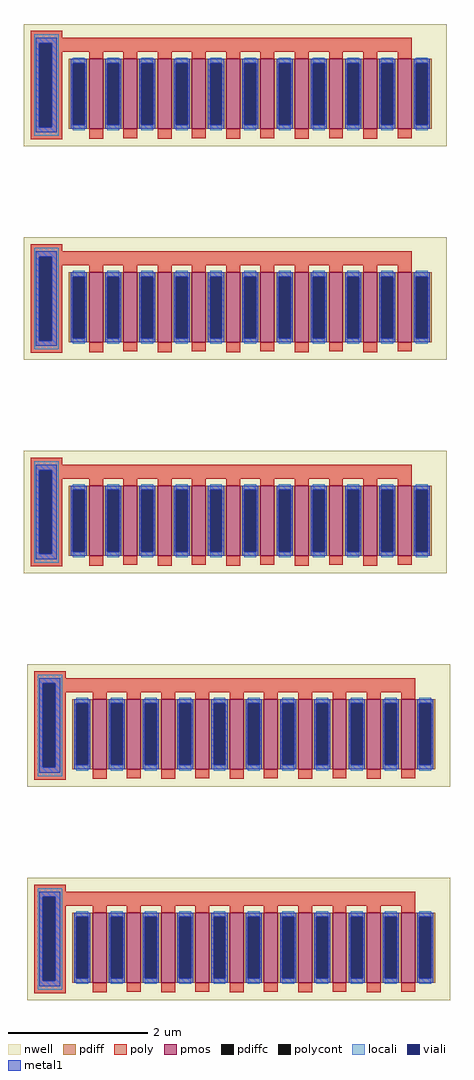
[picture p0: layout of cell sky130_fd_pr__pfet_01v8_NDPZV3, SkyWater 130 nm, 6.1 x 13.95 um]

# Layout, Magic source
magic
tech sky130A
magscale 1 2
<< nwell >>
rect -660 1420 550 1770
rect -660 810 550 1160
rect -660 200 550 550
rect -650 -410 560 -60
rect -650 -1020 560 -670
<< pmos >>
rect -473 1470 -433 1670
rect -375 1470 -335 1670
rect -277 1470 -237 1670
rect -179 1470 -139 1670
rect -81 1470 -41 1670
rect 17 1470 57 1670
rect 115 1470 155 1670
rect 213 1470 253 1670
rect 311 1470 351 1670
rect 409 1470 449 1670
rect -473 860 -433 1060
rect -375 860 -335 1060
rect -277 860 -237 1060
rect -179 860 -139 1060
rect -81 860 -41 1060
rect 17 860 57 1060
rect 115 860 155 1060
rect 213 860 253 1060
rect 311 860 351 1060
rect 409 860 449 1060
rect -473 250 -433 450
rect -375 250 -335 450
rect -277 250 -237 450
rect -179 250 -139 450
rect -81 250 -41 450
rect 17 250 57 450
rect 115 250 155 450
rect 213 250 253 450
rect 311 250 351 450
rect 409 250 449 450
rect -463 -360 -423 -160
rect -365 -360 -325 -160
rect -267 -360 -227 -160
rect -169 -360 -129 -160
rect -71 -360 -31 -160
rect 27 -360 67 -160
rect 125 -360 165 -160
rect 223 -360 263 -160
rect 321 -360 361 -160
rect 419 -360 459 -160
rect -463 -970 -423 -770
rect -365 -970 -325 -770
rect -267 -970 -227 -770
rect -169 -970 -129 -770
rect -71 -970 -31 -770
rect 27 -970 67 -770
rect 125 -970 165 -770
rect 223 -970 263 -770
rect 321 -970 361 -770
rect 419 -970 459 -770
<< pdiff >>
rect -531 1658 -473 1670
rect -531 1482 -519 1658
rect -485 1482 -473 1658
rect -531 1470 -473 1482
rect -433 1658 -375 1670
rect -433 1482 -421 1658
rect -387 1482 -375 1658
rect -433 1470 -375 1482
rect -335 1658 -277 1670
rect -335 1482 -323 1658
rect -289 1482 -277 1658
rect -335 1470 -277 1482
rect -237 1658 -179 1670
rect -237 1482 -225 1658
rect -191 1482 -179 1658
rect -237 1470 -179 1482
rect -139 1658 -81 1670
rect -139 1482 -127 1658
rect -93 1482 -81 1658
rect -139 1470 -81 1482
rect -41 1658 17 1670
rect -41 1482 -29 1658
rect 5 1482 17 1658
rect -41 1470 17 1482
rect 57 1658 115 1670
rect 57 1482 69 1658
rect 103 1482 115 1658
rect 57 1470 115 1482
rect 155 1658 213 1670
rect 155 1482 167 1658
rect 201 1482 213 1658
rect 155 1470 213 1482
rect 253 1658 311 1670
rect 253 1482 265 1658
rect 299 1482 311 1658
rect 253 1470 311 1482
rect 351 1658 409 1670
rect 351 1482 363 1658
rect 397 1482 409 1658
rect 351 1470 409 1482
rect 449 1658 507 1670
rect 449 1482 461 1658
rect 495 1482 507 1658
rect 449 1470 507 1482
rect -531 1048 -473 1060
rect -531 872 -519 1048
rect -485 872 -473 1048
rect -531 860 -473 872
rect -433 1048 -375 1060
rect -433 872 -421 1048
rect -387 872 -375 1048
rect -433 860 -375 872
rect -335 1048 -277 1060
rect -335 872 -323 1048
rect -289 872 -277 1048
rect -335 860 -277 872
rect -237 1048 -179 1060
rect -237 872 -225 1048
rect -191 872 -179 1048
rect -237 860 -179 872
rect -139 1048 -81 1060
rect -139 872 -127 1048
rect -93 872 -81 1048
rect -139 860 -81 872
rect -41 1048 17 1060
rect -41 872 -29 1048
rect 5 872 17 1048
rect -41 860 17 872
rect 57 1048 115 1060
rect 57 872 69 1048
rect 103 872 115 1048
rect 57 860 115 872
rect 155 1048 213 1060
rect 155 872 167 1048
rect 201 872 213 1048
rect 155 860 213 872
rect 253 1048 311 1060
rect 253 872 265 1048
rect 299 872 311 1048
rect 253 860 311 872
rect 351 1048 409 1060
rect 351 872 363 1048
rect 397 872 409 1048
rect 351 860 409 872
rect 449 1048 507 1060
rect 449 872 461 1048
rect 495 872 507 1048
rect 449 860 507 872
rect -531 438 -473 450
rect -531 262 -519 438
rect -485 262 -473 438
rect -531 250 -473 262
rect -433 438 -375 450
rect -433 262 -421 438
rect -387 262 -375 438
rect -433 250 -375 262
rect -335 438 -277 450
rect -335 262 -323 438
rect -289 262 -277 438
rect -335 250 -277 262
rect -237 438 -179 450
rect -237 262 -225 438
rect -191 262 -179 438
rect -237 250 -179 262
rect -139 438 -81 450
rect -139 262 -127 438
rect -93 262 -81 438
rect -139 250 -81 262
rect -41 438 17 450
rect -41 262 -29 438
rect 5 262 17 438
rect -41 250 17 262
rect 57 438 115 450
rect 57 262 69 438
rect 103 262 115 438
rect 57 250 115 262
rect 155 438 213 450
rect 155 262 167 438
rect 201 262 213 438
rect 155 250 213 262
rect 253 438 311 450
rect 253 262 265 438
rect 299 262 311 438
rect 253 250 311 262
rect 351 438 409 450
rect 351 262 363 438
rect 397 262 409 438
rect 351 250 409 262
rect 449 438 507 450
rect 449 262 461 438
rect 495 262 507 438
rect 449 250 507 262
rect -521 -172 -463 -160
rect -521 -348 -509 -172
rect -475 -348 -463 -172
rect -521 -360 -463 -348
rect -423 -172 -365 -160
rect -423 -348 -411 -172
rect -377 -348 -365 -172
rect -423 -360 -365 -348
rect -325 -172 -267 -160
rect -325 -348 -313 -172
rect -279 -348 -267 -172
rect -325 -360 -267 -348
rect -227 -172 -169 -160
rect -227 -348 -215 -172
rect -181 -348 -169 -172
rect -227 -360 -169 -348
rect -129 -172 -71 -160
rect -129 -348 -117 -172
rect -83 -348 -71 -172
rect -129 -360 -71 -348
rect -31 -172 27 -160
rect -31 -348 -19 -172
rect 15 -348 27 -172
rect -31 -360 27 -348
rect 67 -172 125 -160
rect 67 -348 79 -172
rect 113 -348 125 -172
rect 67 -360 125 -348
rect 165 -172 223 -160
rect 165 -348 177 -172
rect 211 -348 223 -172
rect 165 -360 223 -348
rect 263 -172 321 -160
rect 263 -348 275 -172
rect 309 -348 321 -172
rect 263 -360 321 -348
rect 361 -172 419 -160
rect 361 -348 373 -172
rect 407 -348 419 -172
rect 361 -360 419 -348
rect 459 -172 517 -160
rect 459 -348 471 -172
rect 505 -348 517 -172
rect 459 -360 517 -348
rect -521 -782 -463 -770
rect -521 -958 -509 -782
rect -475 -958 -463 -782
rect -521 -970 -463 -958
rect -423 -782 -365 -770
rect -423 -958 -411 -782
rect -377 -958 -365 -782
rect -423 -970 -365 -958
rect -325 -782 -267 -770
rect -325 -958 -313 -782
rect -279 -958 -267 -782
rect -325 -970 -267 -958
rect -227 -782 -169 -770
rect -227 -958 -215 -782
rect -181 -958 -169 -782
rect -227 -970 -169 -958
rect -129 -782 -71 -770
rect -129 -958 -117 -782
rect -83 -958 -71 -782
rect -129 -970 -71 -958
rect -31 -782 27 -770
rect -31 -958 -19 -782
rect 15 -958 27 -782
rect -31 -970 27 -958
rect 67 -782 125 -770
rect 67 -958 79 -782
rect 113 -958 125 -782
rect 67 -970 125 -958
rect 165 -782 223 -770
rect 165 -958 177 -782
rect 211 -958 223 -782
rect 165 -970 223 -958
rect 263 -782 321 -770
rect 263 -958 275 -782
rect 309 -958 321 -782
rect 263 -970 321 -958
rect 361 -782 419 -770
rect 361 -958 373 -782
rect 407 -958 419 -782
rect 361 -970 419 -958
rect 459 -782 517 -770
rect 459 -958 471 -782
rect 505 -958 517 -782
rect 459 -970 517 -958
<< pdiffc >>
rect -519 1482 -485 1658
rect -421 1482 -387 1658
rect -323 1482 -289 1658
rect -225 1482 -191 1658
rect -127 1482 -93 1658
rect -29 1482 5 1658
rect 69 1482 103 1658
rect 167 1482 201 1658
rect 265 1482 299 1658
rect 363 1482 397 1658
rect 461 1482 495 1658
rect -519 872 -485 1048
rect -421 872 -387 1048
rect -323 872 -289 1048
rect -225 872 -191 1048
rect -127 872 -93 1048
rect -29 872 5 1048
rect 69 872 103 1048
rect 167 872 201 1048
rect 265 872 299 1048
rect 363 872 397 1048
rect 461 872 495 1048
rect -519 262 -485 438
rect -421 262 -387 438
rect -323 262 -289 438
rect -225 262 -191 438
rect -127 262 -93 438
rect -29 262 5 438
rect 69 262 103 438
rect 167 262 201 438
rect 265 262 299 438
rect 363 262 397 438
rect 461 262 495 438
rect -509 -348 -475 -172
rect -411 -348 -377 -172
rect -313 -348 -279 -172
rect -215 -348 -181 -172
rect -117 -348 -83 -172
rect -19 -348 15 -172
rect 79 -348 113 -172
rect 177 -348 211 -172
rect 275 -348 309 -172
rect 373 -348 407 -172
rect 471 -348 505 -172
rect -509 -958 -475 -782
rect -411 -958 -377 -782
rect -313 -958 -279 -782
rect -215 -958 -181 -782
rect -117 -958 -83 -782
rect -19 -958 15 -782
rect 79 -958 113 -782
rect 177 -958 211 -782
rect 275 -958 309 -782
rect 373 -958 407 -782
rect 471 -958 505 -782
<< poly >>
rect -640 1730 -550 1750
rect -640 1715 450 1730
rect -640 1475 -615 1715
rect -580 1690 450 1715
rect -580 1475 -550 1690
rect -473 1670 -433 1690
rect -375 1670 -335 1690
rect -277 1670 -237 1690
rect -179 1670 -139 1690
rect -81 1670 -41 1690
rect 17 1670 57 1690
rect 115 1670 155 1690
rect 213 1670 253 1690
rect 311 1670 351 1690
rect 409 1670 449 1690
rect -640 1440 -550 1475
rect -473 1442 -433 1470
rect -375 1444 -335 1470
rect -277 1442 -237 1470
rect -179 1444 -139 1470
rect -81 1442 -41 1470
rect 17 1444 57 1470
rect 115 1442 155 1470
rect 213 1444 253 1470
rect 311 1442 351 1470
rect 409 1444 449 1470
rect -640 1120 -550 1140
rect -640 1105 450 1120
rect -640 865 -615 1105
rect -580 1080 450 1105
rect -580 865 -550 1080
rect -473 1060 -433 1080
rect -375 1060 -335 1080
rect -277 1060 -237 1080
rect -179 1060 -139 1080
rect -81 1060 -41 1080
rect 17 1060 57 1080
rect 115 1060 155 1080
rect 213 1060 253 1080
rect 311 1060 351 1080
rect 409 1060 449 1080
rect -640 830 -550 865
rect -473 832 -433 860
rect -375 834 -335 860
rect -277 832 -237 860
rect -179 834 -139 860
rect -81 832 -41 860
rect 17 834 57 860
rect 115 832 155 860
rect 213 834 253 860
rect 311 832 351 860
rect 409 834 449 860
rect -640 510 -550 530
rect -640 495 450 510
rect -640 255 -615 495
rect -580 470 450 495
rect -580 255 -550 470
rect -473 450 -433 470
rect -375 450 -335 470
rect -277 450 -237 470
rect -179 450 -139 470
rect -81 450 -41 470
rect 17 450 57 470
rect 115 450 155 470
rect 213 450 253 470
rect 311 450 351 470
rect 409 450 449 470
rect -640 220 -550 255
rect -473 222 -433 250
rect -375 224 -335 250
rect -277 222 -237 250
rect -179 224 -139 250
rect -81 222 -41 250
rect 17 224 57 250
rect 115 222 155 250
rect 213 224 253 250
rect 311 222 351 250
rect 409 224 449 250
rect -630 -100 -540 -80
rect -630 -115 460 -100
rect -630 -355 -605 -115
rect -570 -140 460 -115
rect -570 -355 -540 -140
rect -463 -160 -423 -140
rect -365 -160 -325 -140
rect -267 -160 -227 -140
rect -169 -160 -129 -140
rect -71 -160 -31 -140
rect 27 -160 67 -140
rect 125 -160 165 -140
rect 223 -160 263 -140
rect 321 -160 361 -140
rect 419 -160 459 -140
rect -630 -390 -540 -355
rect -463 -388 -423 -360
rect -365 -386 -325 -360
rect -267 -388 -227 -360
rect -169 -386 -129 -360
rect -71 -388 -31 -360
rect 27 -386 67 -360
rect 125 -388 165 -360
rect 223 -386 263 -360
rect 321 -388 361 -360
rect 419 -386 459 -360
rect -630 -710 -540 -690
rect -630 -725 460 -710
rect -630 -965 -605 -725
rect -570 -750 460 -725
rect -570 -965 -540 -750
rect -463 -770 -423 -750
rect -365 -770 -325 -750
rect -267 -770 -227 -750
rect -169 -770 -129 -750
rect -71 -770 -31 -750
rect 27 -770 67 -750
rect 125 -770 165 -750
rect 223 -770 263 -750
rect 321 -770 361 -750
rect 419 -770 459 -750
rect -630 -1000 -540 -965
rect -463 -998 -423 -970
rect -365 -996 -325 -970
rect -267 -998 -227 -970
rect -169 -996 -129 -970
rect -71 -998 -31 -970
rect 27 -996 67 -970
rect 125 -998 165 -970
rect 223 -996 263 -970
rect 321 -998 361 -970
rect 419 -996 459 -970
<< polycont >>
rect -615 1475 -580 1715
rect -615 865 -580 1105
rect -615 255 -580 495
rect -605 -355 -570 -115
rect -605 -965 -570 -725
<< locali >>
rect -630 1715 -560 1740
rect -630 1475 -615 1715
rect -580 1475 -560 1715
rect -630 1450 -560 1475
rect -519 1658 -485 1674
rect -519 1466 -485 1482
rect -421 1658 -387 1674
rect -421 1466 -387 1482
rect -323 1658 -289 1674
rect -323 1466 -289 1482
rect -225 1658 -191 1674
rect -225 1466 -191 1482
rect -127 1658 -93 1674
rect -127 1466 -93 1482
rect -29 1658 5 1674
rect -29 1466 5 1482
rect 69 1658 103 1674
rect 69 1466 103 1482
rect 167 1658 201 1674
rect 167 1466 201 1482
rect 265 1658 299 1674
rect 265 1466 299 1482
rect 363 1658 397 1674
rect 363 1466 397 1482
rect 461 1658 495 1674
rect 461 1466 495 1482
rect -630 1105 -560 1130
rect -630 865 -615 1105
rect -580 865 -560 1105
rect -630 840 -560 865
rect -519 1048 -485 1064
rect -519 856 -485 872
rect -421 1048 -387 1064
rect -421 856 -387 872
rect -323 1048 -289 1064
rect -323 856 -289 872
rect -225 1048 -191 1064
rect -225 856 -191 872
rect -127 1048 -93 1064
rect -127 856 -93 872
rect -29 1048 5 1064
rect -29 856 5 872
rect 69 1048 103 1064
rect 69 856 103 872
rect 167 1048 201 1064
rect 167 856 201 872
rect 265 1048 299 1064
rect 265 856 299 872
rect 363 1048 397 1064
rect 363 856 397 872
rect 461 1048 495 1064
rect 461 856 495 872
rect -630 495 -560 520
rect -630 255 -615 495
rect -580 255 -560 495
rect -630 230 -560 255
rect -519 438 -485 454
rect -519 246 -485 262
rect -421 438 -387 454
rect -421 246 -387 262
rect -323 438 -289 454
rect -323 246 -289 262
rect -225 438 -191 454
rect -225 246 -191 262
rect -127 438 -93 454
rect -127 246 -93 262
rect -29 438 5 454
rect -29 246 5 262
rect 69 438 103 454
rect 69 246 103 262
rect 167 438 201 454
rect 167 246 201 262
rect 265 438 299 454
rect 265 246 299 262
rect 363 438 397 454
rect 363 246 397 262
rect 461 438 495 454
rect 461 246 495 262
rect -620 -115 -550 -90
rect -620 -355 -605 -115
rect -570 -355 -550 -115
rect -620 -380 -550 -355
rect -509 -172 -475 -156
rect -509 -364 -475 -348
rect -411 -172 -377 -156
rect -411 -364 -377 -348
rect -313 -172 -279 -156
rect -313 -364 -279 -348
rect -215 -172 -181 -156
rect -215 -364 -181 -348
rect -117 -172 -83 -156
rect -117 -364 -83 -348
rect -19 -172 15 -156
rect -19 -364 15 -348
rect 79 -172 113 -156
rect 79 -364 113 -348
rect 177 -172 211 -156
rect 177 -364 211 -348
rect 275 -172 309 -156
rect 275 -364 309 -348
rect 373 -172 407 -156
rect 373 -364 407 -348
rect 471 -172 505 -156
rect 471 -364 505 -348
rect -620 -725 -550 -700
rect -620 -965 -605 -725
rect -570 -965 -550 -725
rect -620 -990 -550 -965
rect -509 -782 -475 -766
rect -509 -974 -475 -958
rect -411 -782 -377 -766
rect -411 -974 -377 -958
rect -313 -782 -279 -766
rect -313 -974 -279 -958
rect -215 -782 -181 -766
rect -215 -974 -181 -958
rect -117 -782 -83 -766
rect -117 -974 -83 -958
rect -19 -782 15 -766
rect -19 -974 15 -958
rect 79 -782 113 -766
rect 79 -974 113 -958
rect 177 -782 211 -766
rect 177 -974 211 -958
rect 275 -782 309 -766
rect 275 -974 309 -958
rect 373 -782 407 -766
rect 373 -974 407 -958
rect 471 -782 505 -766
rect 471 -974 505 -958
<< viali >>
rect -615 1475 -580 1715
rect -519 1482 -485 1658
rect -421 1482 -387 1658
rect -323 1482 -289 1658
rect -225 1482 -191 1658
rect -127 1482 -93 1658
rect -29 1482 5 1658
rect 69 1482 103 1658
rect 167 1482 201 1658
rect 265 1482 299 1658
rect 363 1482 397 1658
rect 461 1482 495 1658
rect -615 865 -580 1105
rect -519 872 -485 1048
rect -421 872 -387 1048
rect -323 872 -289 1048
rect -225 872 -191 1048
rect -127 872 -93 1048
rect -29 872 5 1048
rect 69 872 103 1048
rect 167 872 201 1048
rect 265 872 299 1048
rect 363 872 397 1048
rect 461 872 495 1048
rect -615 255 -580 495
rect -519 262 -485 438
rect -421 262 -387 438
rect -323 262 -289 438
rect -225 262 -191 438
rect -127 262 -93 438
rect -29 262 5 438
rect 69 262 103 438
rect 167 262 201 438
rect 265 262 299 438
rect 363 262 397 438
rect 461 262 495 438
rect -605 -355 -570 -115
rect -509 -348 -475 -172
rect -411 -348 -377 -172
rect -313 -348 -279 -172
rect -215 -348 -181 -172
rect -117 -348 -83 -172
rect -19 -348 15 -172
rect 79 -348 113 -172
rect 177 -348 211 -172
rect 275 -348 309 -172
rect 373 -348 407 -172
rect 471 -348 505 -172
rect -605 -965 -570 -725
rect -509 -958 -475 -782
rect -411 -958 -377 -782
rect -313 -958 -279 -782
rect -215 -958 -181 -782
rect -117 -958 -83 -782
rect -19 -958 15 -782
rect 79 -958 113 -782
rect 177 -958 211 -782
rect 275 -958 309 -782
rect 373 -958 407 -782
rect 471 -958 505 -782
<< metal1 >>
rect -625 1715 -565 1730
rect -625 1475 -615 1715
rect -580 1475 -565 1715
rect -625 1460 -565 1475
rect -525 1658 -479 1670
rect -525 1482 -519 1658
rect -485 1482 -479 1658
rect -525 1470 -479 1482
rect -427 1658 -381 1670
rect -427 1482 -421 1658
rect -387 1482 -381 1658
rect -427 1470 -381 1482
rect -329 1658 -283 1670
rect -329 1482 -323 1658
rect -289 1482 -283 1658
rect -329 1470 -283 1482
rect -231 1658 -185 1670
rect -231 1482 -225 1658
rect -191 1482 -185 1658
rect -231 1470 -185 1482
rect -133 1658 -87 1670
rect -133 1482 -127 1658
rect -93 1482 -87 1658
rect -133 1470 -87 1482
rect -35 1658 11 1670
rect -35 1482 -29 1658
rect 5 1482 11 1658
rect -35 1470 11 1482
rect 63 1658 109 1670
rect 63 1482 69 1658
rect 103 1482 109 1658
rect 63 1470 109 1482
rect 161 1658 207 1670
rect 161 1482 167 1658
rect 201 1482 207 1658
rect 161 1470 207 1482
rect 259 1658 305 1670
rect 259 1482 265 1658
rect 299 1482 305 1658
rect 259 1470 305 1482
rect 357 1658 403 1670
rect 357 1482 363 1658
rect 397 1482 403 1658
rect 357 1470 403 1482
rect 455 1658 501 1670
rect 455 1482 461 1658
rect 495 1482 501 1658
rect 455 1470 501 1482
rect -625 1105 -565 1120
rect -625 865 -615 1105
rect -580 865 -565 1105
rect -625 850 -565 865
rect -525 1048 -479 1060
rect -525 872 -519 1048
rect -485 872 -479 1048
rect -525 860 -479 872
rect -427 1048 -381 1060
rect -427 872 -421 1048
rect -387 872 -381 1048
rect -427 860 -381 872
rect -329 1048 -283 1060
rect -329 872 -323 1048
rect -289 872 -283 1048
rect -329 860 -283 872
rect -231 1048 -185 1060
rect -231 872 -225 1048
rect -191 872 -185 1048
rect -231 860 -185 872
rect -133 1048 -87 1060
rect -133 872 -127 1048
rect -93 872 -87 1048
rect -133 860 -87 872
rect -35 1048 11 1060
rect -35 872 -29 1048
rect 5 872 11 1048
rect -35 860 11 872
rect 63 1048 109 1060
rect 63 872 69 1048
rect 103 872 109 1048
rect 63 860 109 872
rect 161 1048 207 1060
rect 161 872 167 1048
rect 201 872 207 1048
rect 161 860 207 872
rect 259 1048 305 1060
rect 259 872 265 1048
rect 299 872 305 1048
rect 259 860 305 872
rect 357 1048 403 1060
rect 357 872 363 1048
rect 397 872 403 1048
rect 357 860 403 872
rect 455 1048 501 1060
rect 455 872 461 1048
rect 495 872 501 1048
rect 455 860 501 872
rect -625 495 -565 510
rect -625 255 -615 495
rect -580 255 -565 495
rect -625 240 -565 255
rect -525 438 -479 450
rect -525 262 -519 438
rect -485 262 -479 438
rect -525 250 -479 262
rect -427 438 -381 450
rect -427 262 -421 438
rect -387 262 -381 438
rect -427 250 -381 262
rect -329 438 -283 450
rect -329 262 -323 438
rect -289 262 -283 438
rect -329 250 -283 262
rect -231 438 -185 450
rect -231 262 -225 438
rect -191 262 -185 438
rect -231 250 -185 262
rect -133 438 -87 450
rect -133 262 -127 438
rect -93 262 -87 438
rect -133 250 -87 262
rect -35 438 11 450
rect -35 262 -29 438
rect 5 262 11 438
rect -35 250 11 262
rect 63 438 109 450
rect 63 262 69 438
rect 103 262 109 438
rect 63 250 109 262
rect 161 438 207 450
rect 161 262 167 438
rect 201 262 207 438
rect 161 250 207 262
rect 259 438 305 450
rect 259 262 265 438
rect 299 262 305 438
rect 259 250 305 262
rect 357 438 403 450
rect 357 262 363 438
rect 397 262 403 438
rect 357 250 403 262
rect 455 438 501 450
rect 455 262 461 438
rect 495 262 501 438
rect 455 250 501 262
rect -615 -115 -555 -100
rect -615 -355 -605 -115
rect -570 -355 -555 -115
rect -615 -370 -555 -355
rect -515 -172 -469 -160
rect -515 -348 -509 -172
rect -475 -348 -469 -172
rect -515 -360 -469 -348
rect -417 -172 -371 -160
rect -417 -348 -411 -172
rect -377 -348 -371 -172
rect -417 -360 -371 -348
rect -319 -172 -273 -160
rect -319 -348 -313 -172
rect -279 -348 -273 -172
rect -319 -360 -273 -348
rect -221 -172 -175 -160
rect -221 -348 -215 -172
rect -181 -348 -175 -172
rect -221 -360 -175 -348
rect -123 -172 -77 -160
rect -123 -348 -117 -172
rect -83 -348 -77 -172
rect -123 -360 -77 -348
rect -25 -172 21 -160
rect -25 -348 -19 -172
rect 15 -348 21 -172
rect -25 -360 21 -348
rect 73 -172 119 -160
rect 73 -348 79 -172
rect 113 -348 119 -172
rect 73 -360 119 -348
rect 171 -172 217 -160
rect 171 -348 177 -172
rect 211 -348 217 -172
rect 171 -360 217 -348
rect 269 -172 315 -160
rect 269 -348 275 -172
rect 309 -348 315 -172
rect 269 -360 315 -348
rect 367 -172 413 -160
rect 367 -348 373 -172
rect 407 -348 413 -172
rect 367 -360 413 -348
rect 465 -172 511 -160
rect 465 -348 471 -172
rect 505 -348 511 -172
rect 465 -360 511 -348
rect -615 -725 -555 -710
rect -615 -965 -605 -725
rect -570 -965 -555 -725
rect -615 -980 -555 -965
rect -515 -782 -469 -770
rect -515 -958 -509 -782
rect -475 -958 -469 -782
rect -515 -970 -469 -958
rect -417 -782 -371 -770
rect -417 -958 -411 -782
rect -377 -958 -371 -782
rect -417 -970 -371 -958
rect -319 -782 -273 -770
rect -319 -958 -313 -782
rect -279 -958 -273 -782
rect -319 -970 -273 -958
rect -221 -782 -175 -770
rect -221 -958 -215 -782
rect -181 -958 -175 -782
rect -221 -970 -175 -958
rect -123 -782 -77 -770
rect -123 -958 -117 -782
rect -83 -958 -77 -782
rect -123 -970 -77 -958
rect -25 -782 21 -770
rect -25 -958 -19 -782
rect 15 -958 21 -782
rect -25 -970 21 -958
rect 73 -782 119 -770
rect 73 -958 79 -782
rect 113 -958 119 -782
rect 73 -970 119 -958
rect 171 -782 217 -770
rect 171 -958 177 -782
rect 211 -958 217 -782
rect 171 -970 217 -958
rect 269 -782 315 -770
rect 269 -958 275 -782
rect 309 -958 315 -782
rect 269 -970 315 -958
rect 367 -782 413 -770
rect 367 -958 373 -782
rect 407 -958 413 -782
rect 367 -970 413 -958
rect 465 -782 511 -770
rect 465 -958 471 -782
rect 505 -958 511 -782
rect 465 -970 511 -958
<< properties >>
string gencell sky130_fd_pr__pfet_01v8
string library sky130
string parameters w 1.0 l 0.2 m 5 nf 10 diffcov 100 polycov 100 guard 0 glc 1 grc 1 gtc 1 gbc 1 tbcov 100 rlcov 100 topc 1 botc 1 poverlap 0 doverlap 1 lmin 0.15 wmin 0.42 compatible {sky130_fd_pr__pfet_01v8  sky130_fd_pr__pfet_01v8_lvt sky130_fd_pr__pfet_01v8_hvt  sky130_fd_pr__pfet_g5v0d10v5} full_metal 1 viasrc 100 viadrn 100 viagate 100 viagb 0 viagr 0 viagl 0 viagt 0
<< end >>
